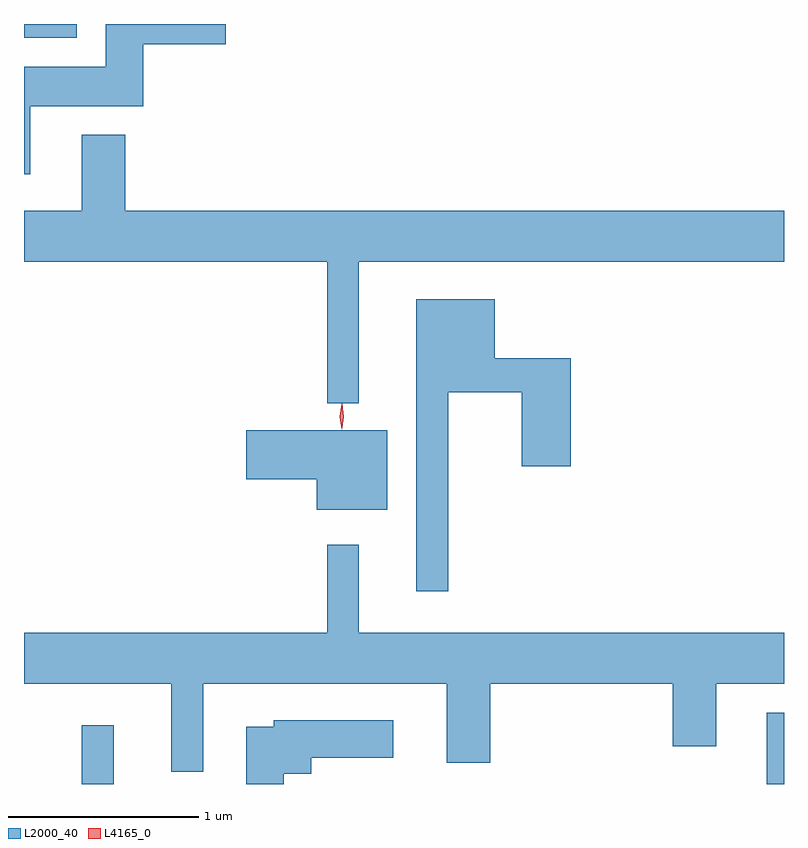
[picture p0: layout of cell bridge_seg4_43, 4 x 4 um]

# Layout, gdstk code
import gdstk
lib = gdstk.Library(unit=1e-6, precision=1e-09)
def R(c, l, rs):  # rectangles x0, y0, x1, y1
    for r in rs: c.add(gdstk.rectangle(r[:2], r[2:], *l))
def P(c, l, *ps):  # polygons
    for p in ps: c.add(gdstk.Polygon(p, *l))
L2000_40 = (2000, 40)
L4165_0 = (4165, 0)

bridge_seg4_43 = lib.new_cell('bridge_seg4_43')
R(bridge_seg4_43, L2000_40, [(1290.021,1369.688,1290.189,1369.998), (1293.626,1369.688,1293.716,1370.063), (1289.716,1373.616,1289.994,1373.688)])
P(bridge_seg4_43, L2000_40, [(1289.749,1373.256),(1290.344,1373.256),(1290.344,1373.581),(1290.779,1373.581),(1290.779,1373.688),(1290.146,1373.688),(1290.146,1373.464),(1289.716,1373.464),(1289.716,1372.896),(1289.749,1372.896)],
  [(1291.479,1372.436),(1293.716,1372.436),(1293.716,1372.704),(1290.249,1372.704),(1290.249,1373.104),(1290.021,1373.104),(1290.021,1372.704),(1289.716,1372.704),(1289.716,1372.436),(1291.311,1372.436),(1291.311,1371.693),(1291.479,1371.693)],
  [(1291.949,1371.751),(1292.336,1371.751),(1292.336,1371.361),(1292.594,1371.361),(1292.594,1371.929),(1292.194,1371.929),(1292.194,1372.239),(1291.781,1372.239),(1291.781,1370.703),(1291.949,1370.703)],
  [(1291.629,1371.549),(1290.886,1371.549),(1290.886,1371.291),(1291.256,1371.291),(1291.256,1371.131),(1291.629,1371.131)],
  [(1290.659,1370.216),(1291.941,1370.216),(1291.941,1369.801),(1292.169,1369.801),(1292.169,1370.216),(1293.131,1370.216),(1293.131,1369.886),(1293.359,1369.886),(1293.359,1370.216),(1293.716,1370.216),(1293.716,1370.484),(1291.479,1370.484),(1291.479,1370.948),(1291.311,1370.948),(1291.311,1370.484),(1289.716,1370.484),(1289.716,1370.216),(1290.491,1370.216),(1290.491,1369.753),(1290.659,1369.753)],
  [(1291.084,1369.741),(1291.229,1369.741),(1291.229,1369.826),(1291.659,1369.826),(1291.659,1370.024),(1291.031,1370.024),(1291.031,1369.989),(1290.886,1369.989),(1290.886,1369.688),(1291.084,1369.688)])
P(bridge_seg4_43, L4165_0, [(1291.388,1371.554),(1291.388,1371.554),(1291.379,1371.622),(1291.389,1371.69),(1291.39,1371.69),(1291.39,1371.69),(1291.399,1371.622),(1291.388,1371.554)],
  [(1291.389,1371.56),(1291.38,1371.623),(1291.389,1371.686),(1291.39,1371.687),(1291.39,1371.686),(1291.4,1371.623),(1291.39,1371.56),(1291.39,1371.56)])

lib.write_gds('bridge_seg4_43.gds')
